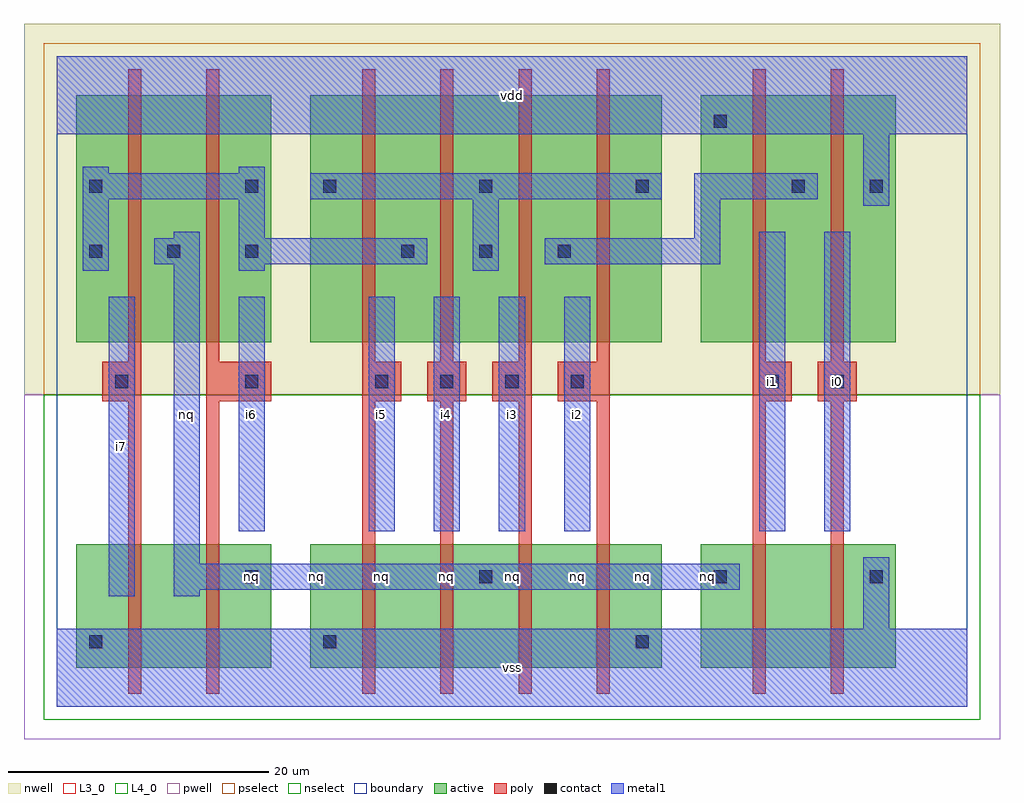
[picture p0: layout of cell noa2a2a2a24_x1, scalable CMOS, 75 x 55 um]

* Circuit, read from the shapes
.subckt noa2a2a2a24_x1 i0 i1 i2 i3 i4 i5 i6 i7 nq vdd vss
M1 n1 i7 vss VSUBS nfet w=9.5u l=1u
M2 nq i6 n1 VSUBS nfet w=9.5u l=1u
M3 n2 i5 vss VSUBS nfet w=9.5u l=1u
M4 nq i4 n2 VSUBS nfet w=9.5u l=1u
M5 n3 i3 nq VSUBS nfet w=9.5u l=1u
M6 vss i2 n3 VSUBS nfet w=9.5u l=1u
M7 n4 i1 nq VSUBS nfet w=9.5u l=1u
M8 vss i0 n4 VSUBS nfet w=9.5u l=1u
M9 nq i7 n5 n6 pfet w=19u l=1u
M10 n5 i6 nq n6 pfet w=19u l=1u
M11 n5 i5 n7 n6 pfet w=19u l=1u
M12 n7 i4 n5 n6 pfet w=19u l=1u
M13 n8 i3 n7 n6 pfet w=19u l=1u
M14 n7 i2 n8 n6 pfet w=19u l=1u
M15 n8 i1 vdd n6 pfet w=19u l=1u
M16 vdd i0 n8 n6 pfet w=19u l=1u
.ends

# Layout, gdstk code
import gdstk
lib = gdstk.Library(unit=1e-6, precision=1e-09)
def R(c, l, rs):  # rectangles x0, y0, x1, y1
    for r in rs: c.add(gdstk.rectangle(r[:2], r[2:], *l))
def A(c, l, x, y, w, h, nx, ny, dx, dy):  # array of equal rectangles
    R(c, l, [(x+i*dx, y+j*dy, x+i*dx+w, y+j*dy+h) for i in range(nx) for j in range(ny)])
L3_0 = (3, 0)
L4_0 = (4, 0)
contact = (25, 0)
pwell = (41, 0)
nwell = (42, 0)
active = (43, 0)
pselect = (44, 0)
nselect = (45, 0)
poly = (46, 0)
metal1 = (49, 0)
boundary = (63, 0)

noa2a2a2a24_x1 = lib.new_cell('noa2a2a2a24_x1')
R(noa2a2a2a24_x1, L3_0, [(1.5,3,16.5,12.5), (19.5,3,46.5,12.5), (49.5,3,64.5,12.5)])
R(noa2a2a2a24_x1, L4_0, [(1.5,28,16.5,47), (19.5,28,46.5,47), (49.5,28,64.5,47)])
A(noa2a2a2a24_x1, contact, 14.5, 9.5, 1, 1, 3, 1, 18, 0)
A(noa2a2a2a24_x1, contact, 4.5, 24.5, 1, 1, 3, 1, 10, 0)
A(noa2a2a2a24_x1, contact, 29.5, 24.5, 1, 1, 3, 1, 5, 0)
A(noa2a2a2a24_x1, contact, 2.5, 34.5, 1, 1, 3, 1, 6, 0)
A(noa2a2a2a24_x1, contact, 26.5, 34.5, 1, 1, 3, 1, 6, 0)
A(noa2a2a2a24_x1, contact, 20.5, 39.5, 1, 1, 4, 1, 12, 0)
R(noa2a2a2a24_x1, contact, [(2.5,4.5,3.5,5.5), (20.5,4.5,21.5,5.5), (44.5,4.5,45.5,5.5), (62.5,9.5,63.5,10.5), (54.5,24.5,55.5,25.5), (59.5,24.5,60.5,25.5), (2.5,39.5,3.5,40.5), (14.5,39.5,15.5,40.5), (62.5,39.5,63.5,40.5), (50.5,44.5,51.5,45.5)])
R(noa2a2a2a24_x1, pwell, [(-2.5,-2.5,72.5,24)])
R(noa2a2a2a24_x1, nwell, [(-2.5,24,72.5,52.5)])
R(noa2a2a2a24_x1, active, [(1.5,3,16.5,12.5), (19.5,3,46.5,12.5), (49.5,3,64.5,12.5), (1.5,28,16.5,47), (19.5,28,46.5,47), (49.5,28,64.5,47)])
R(noa2a2a2a24_x1, pselect, [(-1,24,71,51)])
R(noa2a2a2a24_x1, nselect, [(-1,-1,71,24)])
A(noa2a2a2a24_x1, poly, 23.5, 1, 1, 22.5, 4, 2, 6, 25.5)
A(noa2a2a2a24_x1, poly, 23.5, 23.5, 3, 3, 3, 1, 5, 0)
R(noa2a2a2a24_x1, poly, [(5.5,1,6.5,23.5), (11.5,1,12.5,23.5), (53.5,1,54.5,23.5), (59.5,1,60.5,23.5), (3.5,23.5,6.5,26.5), (11.5,23.5,16.5,26.5), (38.5,23.5,42.5,26.5), (53.5,23.5,56.5,26.5), (58.5,23.5,61.5,26.5), (5.5,26.5,6.5,49), (11.5,26.5,12.5,49), (53.5,26.5,54.5,49), (59.5,26.5,60.5,49)])
R(noa2a2a2a24_x1, metal1, [(0,0,70,6), (0,0,70,6), (62,6,64,11.5), (62,6,64,11.5), (4,8.5,6,31.5), (4,8.5,6,31.5), (9,8.5,11,9), (9,8.5,11,9), (9,9,52.5,11), (9,9,52.5,11), (9,11,11,34), (9,11,11,34), (14,13.5,16,31.5), (14,13.5,16,31.5), (24,13.5,26,31.5), (24,13.5,26,31.5), (29,13.5,31,31.5), (29,13.5,31,31.5), (34,13.5,36,31.5), (34,13.5,36,31.5), (39,13.5,41,31.5), (39,13.5,41,31.5), (54,13.5,56,36.5), (54,13.5,56,36.5), (59,13.5,61,36.5), (59,13.5,61,36.5), (2,33.5,4,39), (2,33.5,4,39), (14,33.5,16,34), (14,33.5,16,34), (32,33.5,34,39), (32,33.5,34,39), (7.5,34,11,36), (7.5,34,11,36), (14,34,28.5,36), (14,34,28.5,36), (37.5,34,51,36), (37.5,34,51,36), (9,36,11,36.5), (9,36,11,36.5), (14,36,16,39), (14,36,16,39), (49,36,51,39), (49,36,51,39), (62,38.5,64,44), (62,38.5,64,44), (2,39,16,41), (2,39,16,41), (19.5,39,46.5,41), (19.5,39,46.5,41), (49,39,58.5,41), (49,39,58.5,41), (2,41,4,41.5), (2,41,4,41.5), (14,41,16,41.5), (14,41,16,41.5), (0,44,70,50), (0,44,70,50)])
R(noa2a2a2a24_x1, boundary, [(0,0,70,50)])
noa2a2a2a24_x1.add(gdstk.Label('nq', (15,10), layer=49, texttype=0))
noa2a2a2a24_x1.add(gdstk.Label('i6', (15,22.5), layer=49, texttype=0))
noa2a2a2a24_x1.add(gdstk.Label('i7', (5,20), layer=49, texttype=0))
noa2a2a2a24_x1.add(gdstk.Label('nq', (10,22.5), layer=49, texttype=0))
noa2a2a2a24_x1.add(gdstk.Label('nq', (30,10), layer=49, texttype=0))
noa2a2a2a24_x1.add(gdstk.Label('nq', (25,10), layer=49, texttype=0))
noa2a2a2a24_x1.add(gdstk.Label('nq', (20,10), layer=49, texttype=0))
noa2a2a2a24_x1.add(gdstk.Label('i4', (30,22.5), layer=49, texttype=0))
noa2a2a2a24_x1.add(gdstk.Label('i5', (25,22.5), layer=49, texttype=0))
noa2a2a2a24_x1.add(gdstk.Label('nq', (35,10), layer=49, texttype=0))
noa2a2a2a24_x1.add(gdstk.Label('vss', (35,3), layer=49, texttype=0))
noa2a2a2a24_x1.add(gdstk.Label('nq', (50,10), layer=49, texttype=0))
noa2a2a2a24_x1.add(gdstk.Label('nq', (45,10), layer=49, texttype=0))
noa2a2a2a24_x1.add(gdstk.Label('nq', (40,10), layer=49, texttype=0))
noa2a2a2a24_x1.add(gdstk.Label('i3', (35,22.5), layer=49, texttype=0))
noa2a2a2a24_x1.add(gdstk.Label('i2', (40,22.5), layer=49, texttype=0))
noa2a2a2a24_x1.add(gdstk.Label('vdd', (35,47), layer=49, texttype=0))
noa2a2a2a24_x1.add(gdstk.Label('i0', (60,25), layer=49, texttype=0))
noa2a2a2a24_x1.add(gdstk.Label('i1', (55,25), layer=49, texttype=0))

lib.write_gds('noa2a2a2a24_x1.gds')
